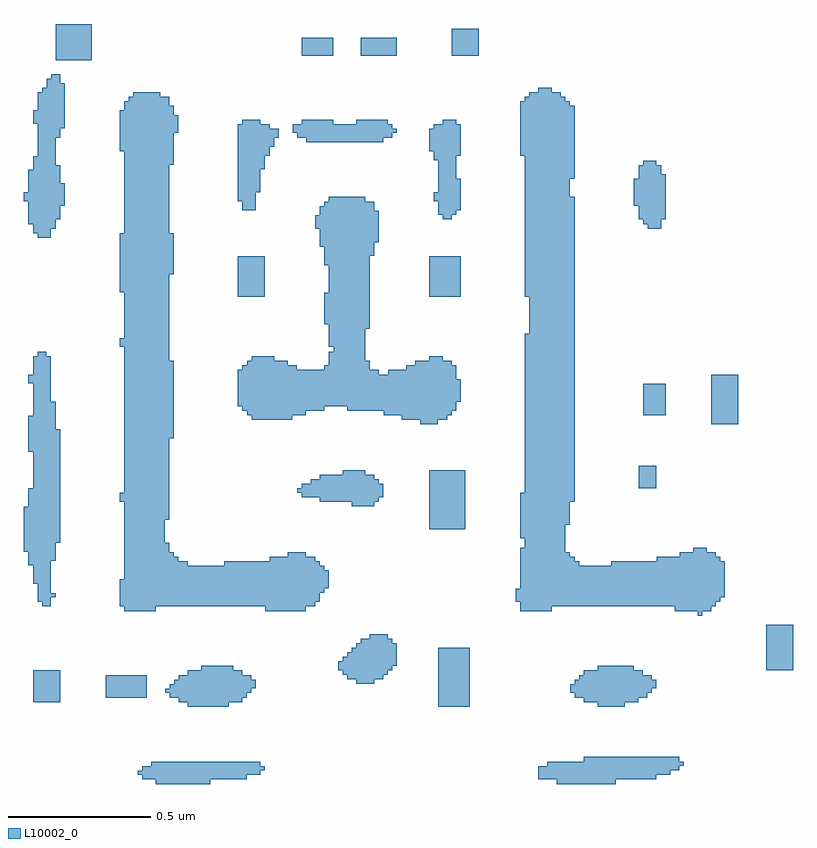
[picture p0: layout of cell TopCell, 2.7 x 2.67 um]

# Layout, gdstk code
import gdstk
lib = gdstk.Library(unit=1e-6, precision=1e-09)
def R(c, l, rs):  # rectangles x0, y0, x1, y1
    for r in rs: c.add(gdstk.rectangle(r[:2], r[2:], *l))
L10002_0 = (10002, 0)

topcell = lib.new_cell('TopCell')
R(topcell, L10002_0, [(1.2,0.464,1.391,0.543), (2.608,0.464,2.815,0.543), (1.152,0.48,1.2,0.527), (1.391,0.48,1.519,0.543), (2.544,0.48,2.608,0.527), (2.815,0.48,2.959,0.559), (1.136,0.496,1.152,0.511), (1.519,0.496,1.567,0.543), (2.959,0.496,3.007,0.559), (1.567,0.512,1.583,0.527), (3.007,0.512,3.039,0.559), (1.184,0.527,1.2,0.543), (2.576,0.527,2.608,0.543), (3.039,0.528,3.055,0.543), (2.704,0.543,2.815,0.559), (1.312,0.736,1.455,0.863), (2.192,0.736,2.303,0.943), (2.752,0.736,2.847,0.879), (0.768,0.752,0.863,0.863), (1.28,0.752,1.312,0.847), (1.455,0.752,1.471,0.879), (1.471,0.752,1.503,0.863), (2.704,0.752,2.752,0.863), (2.847,0.752,2.879,0.879), (2.879,0.752,2.895,0.863), (1.024,0.768,1.167,0.847), (1.248,0.768,1.28,0.815), (1.503,0.768,1.519,0.847), (2.672,0.768,2.704,0.831), (2.895,0.768,2.911,0.863), (2.911,0.768,2.927,0.847), (1.232,0.784,1.248,0.799), (1.519,0.784,1.535,0.847), (2.656,0.784,2.672,0.815), (2.927,0.784,2.943,0.847), (1.535,0.8,1.551,0.831), (2.943,0.8,2.959,0.831), (1.264,0.815,1.28,0.831), (1.904,0.816,1.967,0.959), (2.688,0.831,2.704,0.847), (1.872,0.832,1.904,0.927), (1.967,0.832,1.999,0.991), (1.856,0.848,1.872,0.911), (1.999,0.848,2.015,0.991), (1.36,0.863,1.455,0.879), (1.84,0.864,1.856,0.895), (2.015,0.864,2.031,0.975), (3.344,0.864,3.439,1.023), (2.031,0.88,2.047,0.959), (1.888,0.927,1.904,0.943), (1.92,0.959,1.967,0.975), (1.952,0.975,1.967,0.991), (3.104,1.056,3.119,1.295), (1.088,1.072,1.199,2.863), (1.584,1.072,1.727,1.247), (2.48,1.072,2.591,1.295), (3.024,1.072,3.104,1.263), (3.119,1.072,3.135,1.295), (3.135,1.072,3.151,1.279), (0.8,1.088,0.815,1.983), (0.815,1.088,0.831,1.967), (1.072,1.088,1.088,1.183), (1.199,1.088,1.215,2.895), (1.215,1.088,1.231,2.879), (1.231,1.088,1.247,1.311), (1.247,1.088,1.263,1.279), (1.263,1.088,1.279,1.263), (1.279,1.088,1.311,1.247), (1.311,1.088,1.584,1.231), (1.727,1.088,1.759,1.263), (2.591,1.088,2.623,2.895), (2.623,1.088,2.639,2.879), (2.639,1.088,2.655,1.279), (2.655,1.088,2.671,1.263), (2.671,1.088,2.687,1.247), (2.687,1.088,3.024,1.231), (3.151,1.088,3.167,1.279), (0.784,1.104,0.8,1.983), (1.759,1.104,1.775,1.247), (2.464,1.104,2.48,1.151), (3.167,1.104,3.183,1.263), (0.831,1.12,0.847,1.135), (3.183,1.12,3.199,1.247), (1.775,1.136,1.791,1.231), (1.791,1.152,1.807,1.215), (0.768,1.168,0.784,1.967), (1.44,1.231,1.584,1.247), (2.8,1.231,3.024,1.247), (0.752,1.232,0.768,1.503), (1.6,1.247,1.727,1.263), (2.96,1.247,3.024,1.263), (0.831,1.248,0.847,1.807), (1.664,1.263,1.727,1.279), (3.04,1.263,3.104,1.279), (3.088,1.279,3.104,1.295), (0.736,1.28,0.752,1.439), (2.496,1.295,2.591,2.047), (0.847,1.312,0.863,1.711), (2.48,1.328,2.496,1.487), (2.16,1.36,2.287,1.567), (2.639,1.376,2.655,2.863), (1.231,1.392,1.247,2.879), (1.888,1.44,1.935,1.567), (1.935,1.44,1.967,1.551), (1.072,1.456,1.088,1.487), (1.776,1.456,1.888,1.551), (1.967,1.456,1.983,1.535), (2.655,1.456,2.671,2.527), (1.712,1.472,1.776,1.519), (1.983,1.472,1.999,1.519), (1.696,1.488,1.712,1.503), (2.896,1.504,2.959,1.583), (1.744,1.519,1.776,1.535), (1.856,1.551,1.888,1.567), (0.752,1.632,0.768,1.759), (1.247,1.68,1.263,1.951), (2.128,1.728,2.191,1.951), (3.152,1.728,3.247,1.903), (1.536,1.744,1.615,1.967), (1.615,1.744,1.663,1.951), (1.663,1.744,1.679,1.935), (2.064,1.744,2.128,1.919), (2.191,1.744,2.207,1.967), (2.207,1.744,2.223,1.951), (1.52,1.76,1.536,1.951), (1.679,1.76,1.695,1.935), (1.695,1.76,1.727,1.919), (2,1.76,2.064,1.903), (2.223,1.76,2.239,1.951), (2.912,1.76,2.991,1.871), (1.504,1.776,1.52,1.935), (1.727,1.776,1.791,1.919), (1.872,1.776,1.935,2.527), (1.935,1.776,1.951,1.951), (1.951,1.776,1.983,1.919), (1.983,1.776,2,1.903), (2.239,1.776,2.255,1.935), (1.488,1.792,1.504,1.919), (1.791,1.792,1.872,1.919), (2.255,1.808,2.271,1.887), (0.752,1.872,0.768,1.903), (2.016,1.903,2.064,1.919), (1.792,1.919,1.872,1.935), (2.08,1.919,2.128,1.935), (1.808,1.935,1.872,1.983), (2.112,1.935,2.128,1.951), (2.16,1.951,2.191,1.967), (1.824,1.983,1.872,2.527), (1.072,2,1.088,2.031), (1.808,2,1.824,2.527), (2.512,2.047,2.591,2.895), (1.935,2.064,1.951,2.511), (1.792,2.08,1.808,2.191), (1.488,2.176,1.583,2.319), (2.16,2.176,2.271,2.319), (2.496,2.176,2.512,2.879), (1.072,2.192,1.088,2.399), (1.247,2.256,1.263,2.399), (1.792,2.288,1.808,2.511), (1.951,2.32,1.967,2.511), (1.776,2.352,1.792,2.495), (1.967,2.368,1.983,2.479), (0.784,2.384,0.831,2.895), (0.768,2.4,0.784,2.671), (0.831,2.416,0.847,2.943), (1.76,2.416,1.776,2.463), (2.928,2.416,2.959,2.655), (2.959,2.416,2.975,2.639), (0.752,2.432,0.768,2.623), (2.912,2.432,2.928,2.655), (0.847,2.448,0.863,2.639), (2.208,2.448,2.239,2.799), (2.896,2.448,2.912,2.639), (2.975,2.448,2.991,2.607), (2.192,2.464,2.208,2.783), (2.239,2.464,2.255,2.799), (1.504,2.48,1.551,2.799), (2.255,2.48,2.271,2.591), (0.863,2.496,0.879,2.575), (2.88,2.496,2.896,2.591), (0.736,2.512,0.752,2.543), (1.488,2.512,1.504,2.783), (2.176,2.512,2.192,2.543), (1.551,2.544,1.567,2.799), (2.655,2.592,2.671,2.847), (1.567,2.624,1.583,2.783), (1.247,2.64,1.263,2.847), (2.176,2.656,2.192,2.783), (1.583,2.672,1.599,2.783), (2.255,2.672,2.271,2.783), (2.48,2.672,2.496,2.863), (1.072,2.688,1.088,2.831), (2.16,2.688,2.176,2.767), (1.599,2.704,1.615,2.767), (1.728,2.72,1.823,2.799), (1.823,2.72,1.999,2.783), (0.847,2.736,0.863,2.959), (1.615,2.736,1.631,2.767), (1.696,2.736,1.728,2.783), (1.999,2.736,2.015,2.799), (2.015,2.736,2.031,2.783), (1.263,2.752,1.279,2.815), (1.68,2.752,1.696,2.783), (2.031,2.752,2.047,2.767), (0.863,2.768,0.879,2.927), (1.712,2.783,1.728,2.799), (1.904,2.783,1.999,2.799), (0.768,2.784,0.784,2.831), (1.104,2.863,1.199,2.879), (1.12,2.879,1.199,2.895), (0.8,2.895,0.831,2.911), (2.544,2.895,2.591,2.911), (0.816,2.911,0.831,2.943), (0.832,2.943,0.847,2.959), (0.848,3.008,0.975,3.135), (1.712,3.024,1.823,3.087), (1.92,3.024,2.047,3.087), (2.24,3.024,2.335,3.119)])

lib.write_gds('TopCell.gds')
